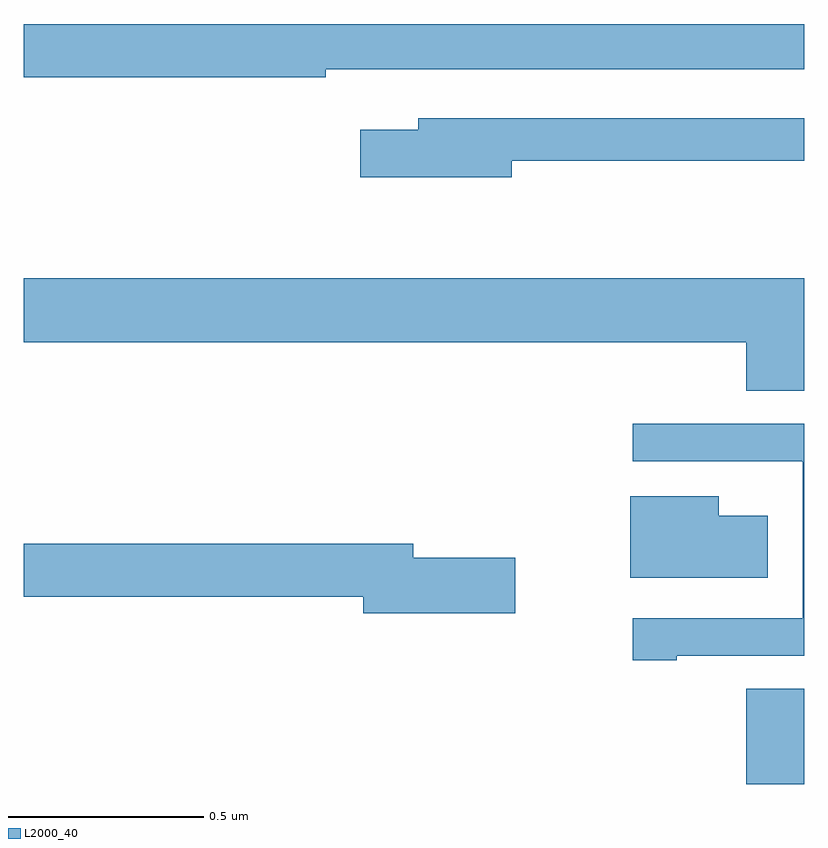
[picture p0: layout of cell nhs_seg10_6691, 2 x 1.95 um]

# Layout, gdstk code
import gdstk
lib = gdstk.Library(unit=1e-6, precision=1e-09)
def R(c, l, rs):  # rectangles x0, y0, x1, y1
    for r in rs: c.add(gdstk.rectangle(r[:2], r[2:], *l))
def P(c, l, *ps):  # polygons
    for p in ps: c.add(gdstk.Polygon(p, *l))
L2000_40 = (2000, 40)

nhs_seg10_6691 = lib.new_cell('nhs_seg10_6691')
R(nhs_seg10_6691, L2000_40, [(195.851,1316.5,196,1316.744)])
P(nhs_seg10_6691, L2000_40, [(194.774,1318.332),(196,1318.332),(196,1318.448),(194,1318.448),(194,1318.312),(194.774,1318.312)],
  [(195.25,1318.098),(196,1318.098),(196,1318.206),(195.011,1318.206),(195.011,1318.177),(194.862,1318.177),(194.862,1318.055),(195.25,1318.055)],
  [(196,1317.796),(194,1317.796),(194,1317.632),(195.851,1317.632),(195.851,1317.508),(196,1317.508)],
  [(195.673,1316.829),(196,1316.829),(196,1317.423),(195.561,1317.423),(195.561,1317.327),(195.995,1317.327),(195.995,1317.326),(195.996,1317.326),(195.996,1316.925),(195.561,1316.925),(195.561,1316.817),(195.673,1316.817)],
  [(195.907,1317.187),(195.781,1317.187),(195.781,1317.238),(195.554,1317.238),(195.554,1317.029),(195.907,1317.029)],
  [(195.259,1317.08),(194.998,1317.08),(194.998,1317.116),(194,1317.116),(194,1316.98),(194.87,1316.98),(194.87,1316.938),(195.259,1316.938)])

lib.write_gds('nhs_seg10_6691.gds')
